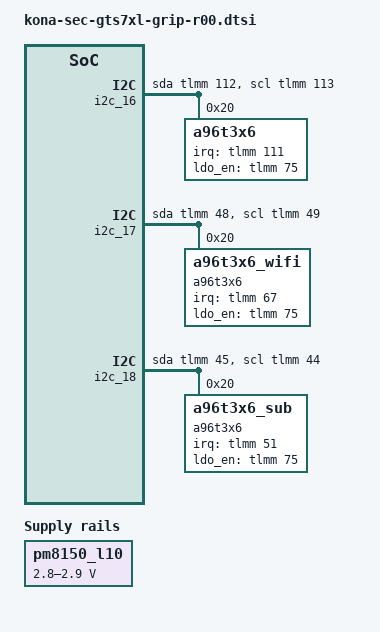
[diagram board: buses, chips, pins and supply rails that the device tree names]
/* Copyright (c) 2016-2017, The Linux Foundation. All rights reserved.
 *
 * This program is free software; you can redistribute it and/or modify
 * it under the terms of the GNU General Public License version 2 and
 * only version 2 as published by the Free Software Foundation.
 *
 * This program is distributed in the hope that it will be useful,
 * but WITHOUT ANY WARRANTY; without even the implied warranty of
 * MERCHANTABILITY or FITNESS FOR A PARTICULAR PURPOSE.  See the
 * GNU General Public License for more details.
 */

&soc {
    /* MAIN GRIP */
	i2c_16: i2c@16 { /* SW I2C */
		status = "ok";

		cell-index = <17>;
		compatible = "i2c-gpio";
		gpios = <&tlmm 112 0 /* sda */
			 &tlmm 113 0 /* scl */
		>;
		pinctrl-names = "default", "sleep";
		pinctrl-0 = <&grip_ldo_active &grip_int_active &grip_i2c_active>;
		pinctrl-1 = <&grip_ldo_suspend &grip_int_suspend &grip_i2c_suspend>;

		#i2c-gpio,delay-us = <2>;
		#address-cells = <1>;
		#size-cells = <0>;
		a96t3x6@20 {
			compatible = "a96t3x6";
			reg = <0x20>;

			interrupt-parent = <&tlmm>;
			interrupts = <111 0>;

			a96t3x6,irq_gpio = <&tlmm 111 0>;
			a96t3x6,ldo_en = <&tlmm 75 0>;
			a96t3x6,fw_path = "abov/a96t356_gts7xl_main1.bin";
			a96t3x6,firmup_cmd = <0x3b>;
		};
	};
	
	/* WIFI1 GRIP */
	i2c_17: i2c@17 { /* SW I2C */
		status = "ok";

		cell-index = <17>;
		compatible = "i2c-gpio";
		gpios = <&tlmm 48 0 /* sda */
			 &tlmm 49 0 /* scl */
		>;
		pinctrl-names = "default", "sleep";
		pinctrl-0 = <&grip_ldo_active &wifi_grip_int_active &wifi_grip_i2c_active>;
		pinctrl-1 = <&grip_ldo_suspend &wifi_grip_int_suspend &wifi_grip_i2c_suspend>;

		#i2c-gpio,delay-us = <2>;
		#address-cells = <1>;
		#size-cells = <0>;
		a96t3x6@20 {
			compatible = "a96t3x6_wifi";
			reg = <0x20>;

			interrupt-parent = <&tlmm>;
			interrupts = <67 0>;

			a96t3x6,irq_gpio = <&tlmm 67 0>;
			a96t3x6,ldo_en = <&tlmm 75 0>;
			a96t3x6,fw_path = "abov/a96t356_gts7xl_wifi1.bin";
			a96t3x6,firmup_cmd = <0x3b>;
		};
	};
	
	/* MAIN3/WIFI2 GRIP */
	i2c_18: i2c@18 { /* SW I2C */
		status = "ok";

		cell-index = <17>;
		compatible = "i2c-gpio";
		gpios = <&tlmm 45 0 /* sda */
			 &tlmm 44 0 /* scl */
		>;
		pinctrl-names = "default", "sleep";
		pinctrl-0 = <&grip_ldo_active &wifi_sub_grip_int_active &wifi_sub_grip_i2c_active>;
		pinctrl-1 = <&grip_ldo_suspend &wifi_sub_grip_int_suspend &wifi_sub_grip_i2c_suspend>;

		#i2c-gpio,delay-us = <2>;
		#address-cells = <1>;
		#size-cells = <0>;
		a96t3x6@20 {
			compatible = "a96t3x6_sub";
			reg = <0x20>;

			interrupt-parent = <&tlmm>;
			interrupts = <51 0>;

			a96t3x6,irq_gpio = <&tlmm 51 0>;
			a96t3x6,ldo_en = <&tlmm 75 0>;
			a96t3x6,fw_path = "abov/a96t356_gts7xl_main3wifi2.bin";
			a96t3x6,firmup_cmd = <0x3b>;
		};
	};
};

/* LIGHT SENSOR VDD */
&pm8150_l10 {
	regulator-min-microvolt = <2800000>;
	regulator-max-microvolt = <2900000>;
	qcom,init-voltage = <2900000>;
	regulator-always-on;
};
